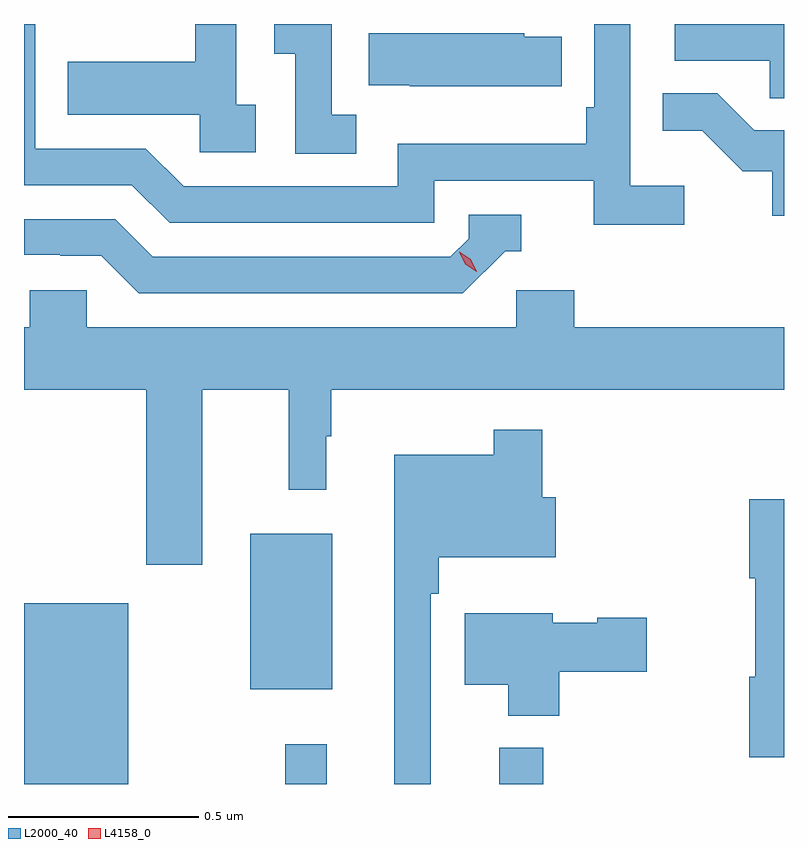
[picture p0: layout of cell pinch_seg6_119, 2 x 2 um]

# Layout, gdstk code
import gdstk
lib = gdstk.Library(unit=1e-6, precision=1e-09)
def R(c, l, rs):  # rectangles x0, y0, x1, y1
    for r in rs: c.add(gdstk.rectangle(r[:2], r[2:], *l))
def P(c, l, *ps):  # polygons
    for p in ps: c.add(gdstk.Polygon(p, *l))
L2000_40 = (2000, 40)
L4158_0 = (4158, 0)

pinch_seg6_119 = lib.new_cell('pinch_seg6_119')
R(pinch_seg6_119, L2000_40, [(994.596,928.982,994.87,929.458), (995.283,928.982,995.393,929.086), (995.846,928.982,995.963,929.077), (995.192,929.231,995.407,929.641)])
P(pinch_seg6_119, L2000_40, [(995.206,930.77),(995.154,930.77),(995.154,930.982),(995.046,930.982),(995.046,930.883),(994.711,930.883),(994.711,930.743),(995.058,930.743),(995.058,930.645),(995.206,930.645)],
  [(996.596,930.981),(996.533,930.981),(996.533,930.982),(996.308,930.982),(996.308,930.885),(996.559,930.885),(996.559,930.787),(996.596,930.787)],
  [(995.47,930.743),(995.406,930.743),(995.406,930.982),(995.255,930.982),(995.255,930.904),(995.31,930.904),(995.31,930.64),(995.47,930.64)],
  [(996.334,930.556),(996.192,930.556),(996.192,930.982),(996.096,930.982),(996.096,930.763),(996.076,930.763),(996.076,930.667),(995.58,930.667),(995.58,930.555),(995.016,930.555),(994.917,930.654),(994.626,930.654),(994.626,930.982),(994.596,930.982),(994.596,930.558),(994.88,930.558),(994.979,930.459),(995.676,930.459),(995.676,930.57),(996.095,930.57),(996.095,930.454),(996.334,930.454)],
  [(996.011,930.948),(995.913,930.948),(995.913,930.958),(995.503,930.958),(995.503,930.821),(995.611,930.821),(995.611,930.818),(996.011,930.818)],
  [(996.596,930.702),(996.518,930.702),(996.42,930.8),(996.277,930.8),(996.277,930.701),(996.381,930.701),(996.488,930.594),(996.565,930.594),(996.565,930.477),(996.596,930.477)],
  [(995.862,930.384),(995.905,930.384),(995.905,930.48),(995.766,930.48),(995.766,930.417),(995.718,930.369),(994.935,930.369),(994.836,930.468),(994.596,930.468),(994.596,930.375),(994.692,930.375),(994.692,930.372),(994.799,930.372),(994.898,930.273),(995.751,930.273)],
  [(995.065,930.02),(995.293,930.02),(995.293,929.757),(995.392,929.757),(995.392,929.897),(995.404,929.897),(995.404,930.02),(996.596,930.02),(996.596,930.184),(996.044,930.184),(996.044,930.282),(995.892,930.282),(995.892,930.184),(994.761,930.184),(994.761,930.282),(994.611,930.282),(994.611,930.184),(994.596,930.184),(994.596,930.02),(994.918,930.02),(994.918,929.559),(995.065,929.559)],
  [(995.667,929.483),(995.687,929.483),(995.687,929.579),(995.995,929.579),(995.995,929.737),(995.96,929.737),(995.96,929.914),(995.832,929.914),(995.832,929.848),(995.57,929.848),(995.57,928.982),(995.667,928.982)],
  [(996.596,929.732),(996.505,929.732),(996.505,929.524),(996.52,929.524),(996.52,929.264),(996.505,929.264),(996.505,929.052),(996.596,929.052)],
  [(996.005,929.278),(996.235,929.278),(996.235,929.42),(996.105,929.42),(996.105,929.407),(995.988,929.407),(995.988,929.431),(995.756,929.431),(995.756,929.243),(995.87,929.243),(995.87,929.162),(996.005,929.162)])
P(pinch_seg6_119, L4158_0, [(995.788,930.33),(995.757,930.35),(995.741,930.382),(995.741,930.383),(995.741,930.383),(995.772,930.363),(995.788,930.33),(995.788,930.33)])

lib.write_gds('pinch_seg6_119.gds')
